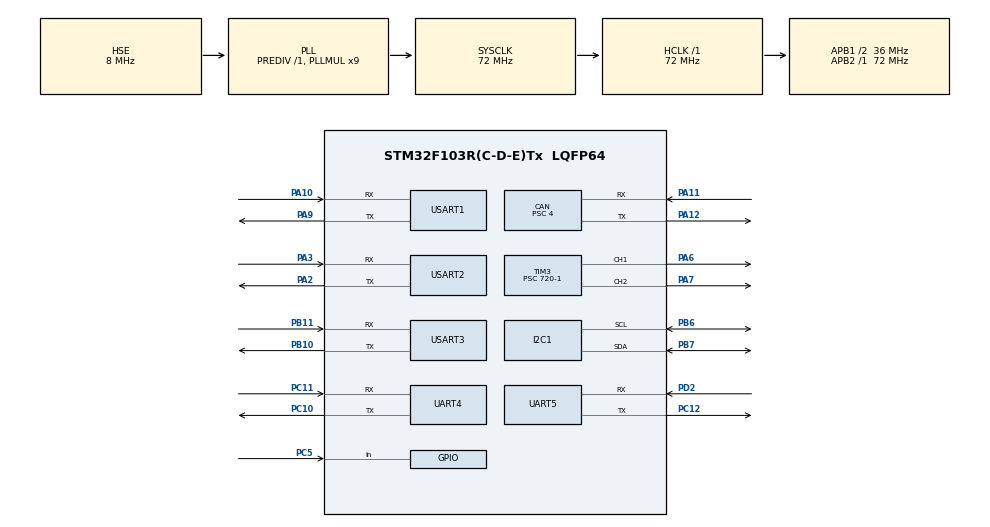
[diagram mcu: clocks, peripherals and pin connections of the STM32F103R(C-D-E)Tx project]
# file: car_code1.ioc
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CAN.ABOM=ENABLE
CAN.BS1=CAN_BS1_14TQ
CAN.BS2=CAN_BS2_3TQ
CAN.CalculateBaudRate=500000
CAN.CalculateTimeBit=2000
CAN.CalculateTimeQuantum=111.11111111111111
CAN.NART=ENABLE
CAN.Prescaler=4
Dma.Request0=USART1_RX
Dma.Request1=USART2_RX
Dma.Request2=USART3_RX
Dma.Request3=UART4_RX
Dma.UART4_RX.3.Direction=DMA_PERIPH_TO_MEMORY
Dma.UART4_RX.3.Instance=DMA2_Channel3
Dma.UART4_RX.3.MemDataAlignment=DMA_MDATAALIGN_BYTE
Dma.UART4_RX.3.MemInc=DMA_MINC_ENABLE
Dma.UART4_RX.3.Mode=DMA_CIRCULAR
Dma.UART4_RX.3.PeriphDataAlignment=DMA_PDATAALIGN_BYTE
Dma.UART4_RX.3.PeriphInc=DMA_PINC_DISABLE
Dma.UART4_RX.3.Priority=DMA_PRIORITY_HIGH
Dma.USART1_RX.0.Direction=DMA_PERIPH_TO_MEMORY
Dma.USART1_RX.0.Instance=DMA1_Channel5
Dma.USART1_RX.0.MemDataAlignment=DMA_MDATAALIGN_BYTE
Dma.USART1_RX.0.MemInc=DMA_MINC_ENABLE
Dma.USART1_RX.0.Mode=DMA_CIRCULAR
Dma.USART1_RX.0.PeriphDataAlignment=DMA_PDATAALIGN_BYTE
Dma.USART1_RX.0.PeriphInc=DMA_PINC_DISABLE
Dma.USART1_RX.0.Priority=DMA_PRIORITY_HIGH
Dma.USART2_RX.1.Direction=DMA_PERIPH_TO_MEMORY
Dma.USART2_RX.1.Instance=DMA1_Channel6
Dma.USART2_RX.1.MemDataAlignment=DMA_MDATAALIGN_BYTE
Dma.USART2_RX.1.MemInc=DMA_MINC_ENABLE
Dma.USART2_RX.1.Mode=DMA_CIRCULAR
Dma.USART2_RX.1.PeriphDataAlignment=DMA_PDATAALIGN_BYTE
Dma.USART2_RX.1.PeriphInc=DMA_PINC_DISABLE
Dma.USART2_RX.1.Priority=DMA_PRIORITY_HIGH
Dma.USART3_RX.2.Direction=DMA_PERIPH_TO_MEMORY
Dma.USART3_RX.2.Instance=DMA1_Channel3
Dma.USART3_RX.2.MemDataAlignment=DMA_MDATAALIGN_BYTE
Dma.USART3_RX.2.MemInc=DMA_MINC_ENABLE
Dma.USART3_RX.2.Mode=DMA_CIRCULAR
Dma.USART3_RX.2.PeriphDataAlignment=DMA_PDATAALIGN_BYTE
Dma.USART3_RX.2.PeriphInc=DMA_PINC_DISABLE
Dma.USART3_RX.2.Priority=DMA_PRIORITY_HIGH
FREERTOS.configTOTAL_HEAP_SIZE=20480
FREERTOS.Tasks01=MonitorTask,-1,256,StartMonitorTask,Default,NULL,Dynamic,NULL,NULL;RobotTask,1,1024,StartRobotTask,Default,NULL,Dynamic,NULL,NULL;CommTask,2,768,StartCommTask,Default,NULL,Dynamic,NULL,NULL;DisplayTask,-2,384,StartDisplayTask,Default,NULL,Dynamic,NULL,NULL
I2C1.I2C_Mode=I2C_Fast
Mcu.Family=STM32F1
Mcu.Name=STM32F103R(C-D-E)Tx
Mcu.Package=LQFP64
NVIC.DMA1_Channel3_IRQn=true\:5\:0\:false\:false\:true\:true\:false\:true\:true
NVIC.DMA1_Channel5_IRQn=true\:5\:0\:false\:false\:true\:true\:false\:true\:true
NVIC.DMA1_Channel6_IRQn=true\:5\:0\:false\:false\:true\:true\:false\:true\:true
NVIC.DMA2_Channel3_IRQn=true\:5\:0\:false\:false\:true\:true\:false\:true\:true
NVIC.PriorityGroup=NVIC_PRIORITYGROUP_4
NVIC.TIM6_IRQn=true\:15\:0\:false\:false\:true\:false\:false\:true\:true
NVIC.TimeBase=TIM6_IRQn
NVIC.TimeBaseIP=TIM6
NVIC.UART4_IRQn=true\:6\:0\:true\:false\:true\:true\:true\:true\:true
NVIC.UART5_IRQn=true\:6\:0\:true\:false\:true\:true\:true\:true\:true
NVIC.USART1_IRQn=true\:6\:0\:true\:false\:true\:true\:true\:true\:true
NVIC.USART2_IRQn=true\:6\:0\:true\:false\:true\:true\:true\:true\:true
NVIC.USART3_IRQn=true\:6\:0\:true\:false\:true\:true\:true\:true\:true
NVIC.USB_LP_CAN1_RX0_IRQn=true\:5\:0\:false\:false\:true\:true\:true\:true\:true
PA10.Mode=Asynchronous
PA10.Signal=USART1_RX
PA11.Mode=CAN_Activate
PA11.Signal=CAN_RX
PA12.Mode=CAN_Activate
PA12.Signal=CAN_TX
PA13.Mode=Serial_Wire
PA13.Signal=SYS_JTMS-SWDIO
PA14.Mode=Serial_Wire
PA14.Signal=SYS_JTCK-SWCLK
PA2.Mode=Asynchronous
PA2.Signal=USART2_TX
PA3.Mode=Asynchronous
PA3.Signal=USART2_RX
PA6.Signal=S_TIM3_CH1
PA7.Signal=S_TIM3_CH2
PA9.Mode=Asynchronous
PA9.Signal=USART1_TX
PB10.Mode=Asynchronous
PB10.Signal=USART3_TX
PB11.Mode=Asynchronous
PB11.Signal=USART3_RX
PB6.Mode=I2C
PB6.Signal=I2C1_SCL
PB7.Mode=I2C
PB7.Signal=I2C1_SDA
PC10.Mode=Asynchronous
PC10.Signal=UART4_TX
PC11.Mode=Asynchronous
PC11.Signal=UART4_RX
PC12.Mode=Asynchronous
PC12.Signal=UART5_TX
PC5.GPIO_PuPd=GPIO_PULLUP
PC5.Signal=GPIO_Input
PD0-OSC_IN.Mode=HSE-External-Oscillator
PD0-OSC_IN.Signal=RCC_OSC_IN
PD1-OSC_OUT.Mode=HSE-External-Oscillator
PD1-OSC_OUT.Signal=RCC_OSC_OUT
PD2.Mode=Asynchronous
PD2.Signal=UART5_RX
ProjectManager.HeapSize=0x200
ProjectManager.StackSize=0x400
ProjectManager.TargetToolchain=MDK-ARM V5.32
RCC.AHBFreq_Value=72000000
RCC.APB1CLKDivider=RCC_HCLK_DIV2
RCC.APB1Freq_Value=36000000
RCC.APB1TimFreq_Value=72000000
RCC.APB2Freq_Value=72000000
RCC.APB2TimFreq_Value=72000000
RCC.HCLKFreq_Value=72000000
RCC.PLLMUL=RCC_PLL_MUL9
RCC.PLLSourceVirtual=RCC_PLLSOURCE_HSE
RCC.SYSCLKFreq_VALUE=72000000
RCC.SYSCLKSource=RCC_SYSCLKSOURCE_PLLCLK
RCC.USBFreq_Value=72000000
SH.S_TIM3_CH1.0=TIM3_CH1,PWM Generation1 CH1
SH.S_TIM3_CH2.0=TIM3_CH2,PWM Generation2 CH2
TIM3.Channel-PWM\ Generation1\ CH1=TIM_CHANNEL_1
TIM3.Channel-PWM\ Generation2\ CH2=TIM_CHANNEL_2
TIM3.Period=19999
TIM3.Prescaler=720-1
TIM3.Pulse-PWM\ Generation1\ CH1=1000-1
TIM3.Pulse-PWM\ Generation2\ CH2=0
UART4.VirtualMode=Asynchronous
UART5.VirtualMode=Asynchronous
USART1.VirtualMode=VM_ASYNC
USART2.VirtualMode=VM_ASYNC
USART3.VirtualMode=VM_ASYNC
VP_FREERTOS_VS_CMSIS_V1.Mode=CMSIS_V1
VP_SYS_VS_tim6.Mode=TIM6
VP_TIM3_VS_ClockSourceINT.Mode=Internal
board=custom

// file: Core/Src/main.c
/* USER CODE BEGIN Header */
/**
  ******************************************************************************
  * @file           : main.c
  * @brief          : Main program body
  ******************************************************************************
  * @attention
  *
  * Copyright (c) 2026 STMicroelectronics.
  * All rights reserved.
  *
  * This software is licensed under terms that can be found in the LICENSE file
  * in the root directory of this software component.
  * If no LICENSE file comes with this software, it is provided AS-IS.
  *
  ******************************************************************************
  */
/* USER CODE END Header */
#include "main.h"
#include "cmsis_os.h"
#include "can.h"
#include "dma.h"
#include "i2c.h"
#include "tim.h"
#include "usart.h"
#include "gpio.h"

/* USER CODE BEGIN Includes */
#include "chassis_debug.h"
#include "imu.h"
#include "route.h"
#include "route_uart.h"
/* USER CODE END Includes */

/* USER CODE BEGIN PV */
/* Boot stage: 1 main, 2 HAL, 3 clock, 4 GPIO, 5 CAN init,
 * 6 filters, 7 CAN started, 8 notifications, 9 key task ready.
 * A debugger halt before C runtime initialization has no valid globals.
 */
volatile uint32_t app_boot_stage;
volatile uint32_t app_error;

/* USER CODE END PV */

void SystemClock_Config(void);
void MX_FREERTOS_Init(void);

int main(void)
{

  /* USER CODE BEGIN 1 */
  app_boot_stage = 1;
  app_error = 0;

  /* USER CODE END 1 */

  /* MCU Configuration--------------------------------------------------------*/

  /* Reset of all peripherals, Initializes the Flash interface and the Systick. */
  HAL_Init();

  /* USER CODE BEGIN Init */
  app_boot_stage = 2;

  /* USER CODE END Init */

  /* Configure the system clock */
  SystemClock_Config();

  /* USER CODE BEGIN SysInit */
  app_boot_stage = 3;

  /* USER CODE END SysInit */

  /* Initialize all configured peripherals */
  MX_GPIO_Init();
  MX_DMA_Init();
  MX_CAN_Init();
  MX_I2C1_Init();
  MX_UART4_Init();
  MX_USART1_UART_Init();
  MX_USART2_UART_Init();
  MX_USART3_UART_Init();
  MX_UART5_Init();
  MX_TIM3_Init();
  /* USER CODE BEGIN 2 */
  app_boot_stage = 5;
  USER_CAN1_Filter_Init();
  app_boot_stage = 6;
  if (HAL_CAN_Start(&hcan) != HAL_OK) Error_Handler();
  app_boot_stage = 7;
  if (HAL_CAN_ActivateNotification(&hcan,
      CAN_IT_RX_FIFO0_MSG_PENDING) != HAL_OK) Error_Handler();
  app_boot_stage = 8;
  HAL_Delay(1000);
  Chassis_DebugInit();
  if (IMU_Init() != HAL_OK) Error_Handler();
  chassis_debug.allow_manual_tests = 0;
  chassis_debug.external_owner = 1;
  Route_Init();
  if (RouteUART_Init(&huart4) != HAL_OK) Error_Handler();
  app_boot_stage = 9;
	//Chassis_MoveForward(-500.0f, 60, 120);
  /* USER CODE END 2 */

  /* Call init function for freertos objects (in cmsis_os2.c) */
  MX_FREERTOS_Init();

  /* Start scheduler */
  osKernelStart();

  /* We should never get here as control is now taken by the scheduler */

  /* Infinite loop */
  while (1)
  {

    /* USER CODE BEGIN 3 */
    Error_Handler(); /* osKernelStart() must not return. */
  }
  /* USER CODE END 3 */
}

void SystemClock_Config(void)
{
  RCC_OscInitTypeDef RCC_OscInitStruct = {0};
  RCC_ClkInitTypeDef RCC_ClkInitStruct = {0};

  /** Initializes the RCC Oscillators according to the specified parameters
  * in the RCC_OscInitTypeDef structure.
  */
  RCC_OscInitStruct.OscillatorType = RCC_OSCILLATORTYPE_HSE;
  RCC_OscInitStruct.HSEState = RCC_HSE_ON;
  RCC_OscInitStruct.HSEPredivValue = RCC_HSE_PREDIV_DIV1;
  RCC_OscInitStruct.HSIState = RCC_HSI_ON;
  RCC_OscInitStruct.PLL.PLLState = RCC_PLL_ON;
  RCC_OscInitStruct.PLL.PLLSource = RCC_PLLSOURCE_HSE;
  RCC_OscInitStruct.PLL.PLLMUL = RCC_PLL_MUL9;
  if (HAL_RCC_OscConfig(&RCC_OscInitStruct) != HAL_OK)
  {
    Error_Handler();
  }

  /** Initializes the CPU, AHB and APB buses clocks
  */
  RCC_ClkInitStruct.ClockType = RCC_CLOCKTYPE_HCLK|RCC_CLOCKTYPE_SYSCLK
                              |RCC_CLOCKTYPE_PCLK1|RCC_CLOCKTYPE_PCLK2;
  RCC_ClkInitStruct.SYSCLKSource = RCC_SYSCLKSOURCE_PLLCLK;
  RCC_ClkInitStruct.AHBCLKDivider = RCC_SYSCLK_DIV1;
  RCC_ClkInitStruct.APB1CLKDivider = RCC_HCLK_DIV2;
  RCC_ClkInitStruct.APB2CLKDivider = RCC_HCLK_DIV1;

  if (HAL_RCC_ClockConfig(&RCC_ClkInitStruct, FLASH_LATENCY_2) != HAL_OK)
  {
    Error_Handler();
  }
}

void HAL_TIM_PeriodElapsedCallback(TIM_HandleTypeDef *htim)
{
  if (htim->Instance == TIM6)
  {
    HAL_IncTick();
  }
}

void Error_Handler(void)
{
  /* USER CODE BEGIN Error_Handler_Debug */
  app_error = 1;
  /* User can add his own implementation to report the HAL error return state */
  __disable_irq();
  while (1)
  {
  }
  /* USER CODE END Error_Handler_Debug */
}

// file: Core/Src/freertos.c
/* USER CODE BEGIN Header */
/**
  ******************************************************************************
  * File Name          : freertos.c
  * Description        : Code for freertos applications
  ******************************************************************************
  * @attention
  *
  * Copyright (c) 2026 STMicroelectronics.
  * All rights reserved.
  *
  * This software is licensed under terms that can be found in the LICENSE file
  * in the root directory of this software component.
  * If no LICENSE file comes with this software, it is provided AS-IS.
  *
  ******************************************************************************
  */
/* USER CODE END Header */

#include "FreeRTOS.h"
#include "task.h"
#include "main.h"
#include "cmsis_os.h"

/* USER CODE BEGIN Includes */
#include "imu.h"
#include "chassis_debug.h"
#include "chassis_heading.h"
#include "route.h"
#include "route_uart.h"
/* USER CODE END Includes */

osThreadId MonitorTaskHandle;
osThreadId RobotTaskHandle;
osThreadId CommTaskHandle;
osThreadId DisplayTaskHandle;

void StartMonitorTask(void const * argument);
void StartRobotTask(void const * argument);
void StartCommTask(void const * argument);
void StartDisplayTask(void const * argument);

void MX_FREERTOS_Init(void); /* (MISRA C 2004 rule 8.1) */

/* GetIdleTaskMemory prototype (linked to static allocation support) */
void vApplicationGetIdleTaskMemory( StaticTask_t **ppxIdleTaskTCBBuffer, StackType_t **ppxIdleTaskStackBuffer, uint32_t *pulIdleTaskStackSize );

/* USER CODE BEGIN GET_IDLE_TASK_MEMORY */
static StaticTask_t xIdleTaskTCBBuffer;
static StackType_t xIdleStack[configMINIMAL_STACK_SIZE];

void vApplicationGetIdleTaskMemory( StaticTask_t **ppxIdleTaskTCBBuffer, StackType_t **ppxIdleTaskStackBuffer, uint32_t *pulIdleTaskStackSize )
{
  *ppxIdleTaskTCBBuffer = &xIdleTaskTCBBuffer;
  *ppxIdleTaskStackBuffer = &xIdleStack[0];
  *pulIdleTaskStackSize = configMINIMAL_STACK_SIZE;
  /* place for user code */
}
/* USER CODE END GET_IDLE_TASK_MEMORY */

void MX_FREERTOS_Init(void) {

  /* Create the thread(s) */
  /* definition and creation of MonitorTask */
  osThreadDef(MonitorTask, StartMonitorTask, osPriorityBelowNormal, 0, 256);
  MonitorTaskHandle = osThreadCreate(osThread(MonitorTask), NULL);

  /* definition and creation of RobotTask */
  osThreadDef(RobotTask, StartRobotTask, osPriorityAboveNormal, 0, 1024);
  RobotTaskHandle = osThreadCreate(osThread(RobotTask), NULL);

  /* definition and creation of CommTask */
  osThreadDef(CommTask, StartCommTask, osPriorityHigh, 0, 768);
  CommTaskHandle = osThreadCreate(osThread(CommTask), NULL);

  /* definition and creation of DisplayTask */
  osThreadDef(DisplayTask, StartDisplayTask, osPriorityLow, 0, 384);
  DisplayTaskHandle = osThreadCreate(osThread(DisplayTask), NULL);

  /* USER CODE BEGIN RTOS_THREADS */
  /* Detect insufficient heap rather than silently losing a task. */
  if (MonitorTaskHandle == NULL || RobotTaskHandle == NULL ||
      CommTaskHandle == NULL || DisplayTaskHandle == NULL) Error_Handler();
  /* USER CODE END RTOS_THREADS */

}

void StartMonitorTask(void const * argument)
{
  for(;;)
  {
    osDelay(1);
  }
}

void StartRobotTask(void const * argument)
{
  /* USER CODE BEGIN StartRobotTask */
  uint32_t last_stop = chassis_debug.stop_request;
  for (;;)
  {
    Chassis_DebugTask(); /* KEY0 and Watch telemetry; manual moves disabled. */
    Route_SetMotionInhibit(key0_level == 0U);
    if (last_stop != chassis_debug.stop_request || key0_level == 0U)
    {
      last_stop = chassis_debug.stop_request;
      Route_Stop();
    }
    Route_Task(); /* Sole route and chassis motion owner. */
    osDelay(1);
  }
  /* USER CODE END StartRobotTask */
}

void StartCommTask(void const * argument)
{
  /* USER CODE BEGIN StartCommTask */
  /* CAN acknowledgement waits in RobotTask must not starve IMU parsing. */
  for(;;)
  {
    IMU_Task();
    RouteUART_Task();
    osDelay(2);
  }
  /* USER CODE END StartCommTask */
}

void StartDisplayTask(void const * argument)
{
  for(;;)
  {
    osDelay(1);
  }
}
